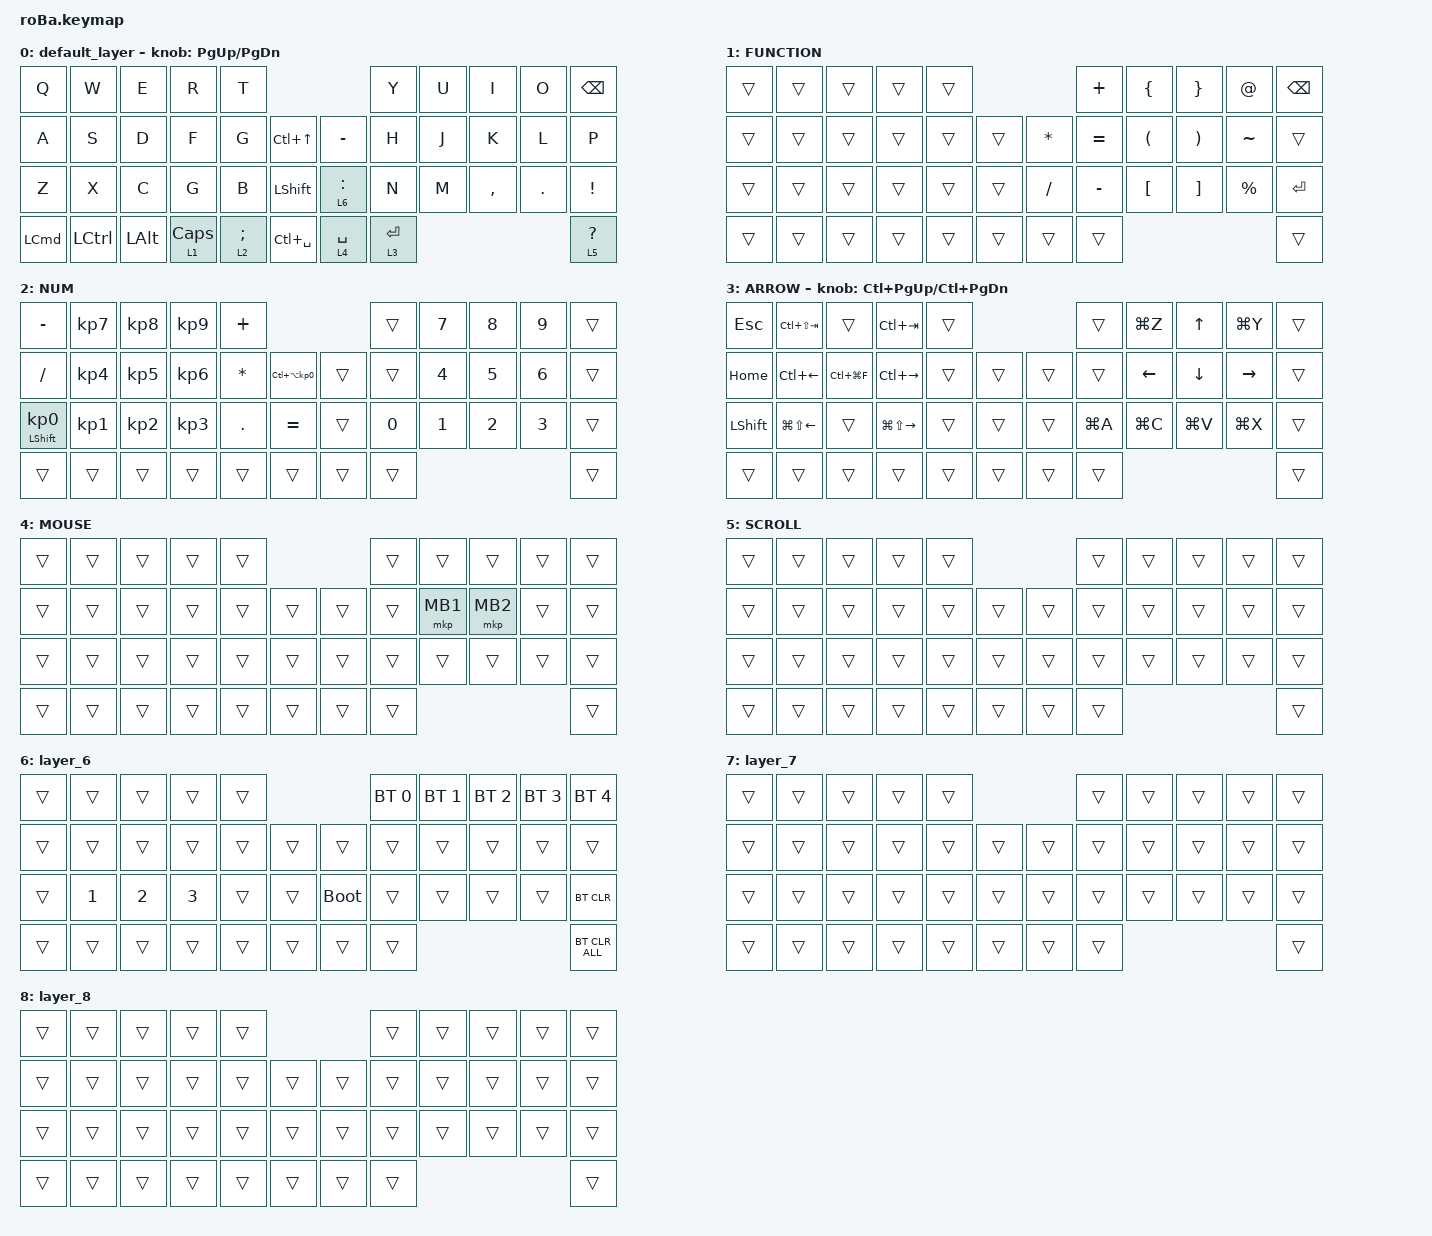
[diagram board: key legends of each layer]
#include <behaviors.dtsi>
#include <dt-bindings/zmk/bt.h>
#include <dt-bindings/zmk/keys.h>
#include <dt-bindings/zmk/pointing.h>

&mt {
    flavor = "balanced";
    quick-tap-ms = <0>;
};

&trackball {
    automouse-layer = <4>;
    scroll-layers = <5>;

    // arrows {
    //     layers = <3>;
    //     bindings =
    //         <&kp RIGHT_ARROW>,
    //         <&kp LEFT_ARROW>,
    //         <&kp UP_ARROW>,
    //         <&kp DOWN_ARROW>;
    //     tick = <10>;
    //     wait-ms = <5>;
    //     tap-ms = <5>;
    // };
};

/ {
    combos {
        compatible = "zmk,combos";

        tab {
            bindings = <&kp TAB>;
            key-positions = <11 12>;
        };

        shift_tab {
            bindings = <&kp LS(TAB)>;
            key-positions = <12 13>;
        };

        muhennkann {
            bindings = <&to_layer_0 INT_MUHENKAN>;
            key-positions = <11 10>;
        };

        double_quotation {
            bindings = <&kp DOUBLE_QUOTES>;
            key-positions = <20 21>;
        };

        eq {
            bindings = <&kp EQUAL>;
            key-positions = <24 25>;
        };
    };

    macros {
        to_layer_0: to_layer_0 {
            compatible = "zmk,behavior-macro-one-param";
            #binding-cells = <1>;
            bindings = <&to 0 &macro_param_1to1 &kp MACRO_PLACEHOLDER>;
            label = "TO_LAYER_0";
        };
    };

    behaviors {
        lt_to_layer_0: lt_to_layer_0 {
            compatible = "zmk,behavior-hold-tap";
            label = "LAYER_TAP_TO_0";
            bindings = <&mo>, <&to_layer_0>;

            #binding-cells = <2>;
            tapping-term-ms = <200>;
        };
    };

    keymap {
        compatible = "zmk,keymap";

        default_layer {
            bindings = <
&kp Q             &kp W             &kp E         &kp R       &kp T                                               &kp Y        &kp U  &kp I      &kp O    &kp BACKSPACE
&kp A             &kp S             &kp D         &kp F       &kp G            &kp LC(UP_ARROW)      &kp MINUS    &kp H        &kp J  &kp K      &kp L    &kp P
&kp Z             &kp X             &kp C         &kp G       &kp B            &kp LEFT_SHIFT        &lt 6 COLON  &kp N        &kp M  &kp COMMA  &kp DOT  &kp EXCLAMATION
&kp LEFT_COMMAND  &kp LEFT_CONTROL  &kp LEFT_ALT  &lt 1 CAPS  &lt 2 SEMICOLON  &kp LC(SPACE)         &lt 4 SPACE  &lt 3 ENTER                             &lt 5 QUESTION
            >;

            sensor-bindings = <&inc_dec_kp PG_UP PAGE_DOWN>;
        };

        FUNCTION {
            bindings = <
&trans  &trans  &trans  &trans  &trans                            &kp PLUS   &kp LEFT_BRACE        &kp RIGHT_BRACE        &kp AT_SIGN  &kp BACKSPACE
&trans  &trans  &trans  &trans  &trans  &trans      &kp ASTERISK  &kp EQUAL  &kp LEFT_PARENTHESIS  &kp RIGHT_PARENTHESIS  &kp TILDE    &trans
&trans  &trans  &trans  &trans  &trans  &trans      &kp SLASH     &kp MINUS  &kp LEFT_BRACKET      &kp RIGHT_BRACKET      &kp PERCENT  &kp ENTER
&trans  &trans  &trans  &trans  &trans  &trans      &trans        &trans                                                               &trans
            >;
        };

        NUM {
            bindings = <
&kp MINUS                   &kp KP_NUMBER_7  &kp KP_NUMBER_8  &kp KP_NUMBER_9  &kp PLUS                                           &trans  &kp N7        &kp N8        &kp N9        &trans
&kp SLASH                   &kp KP_NUMBER_4  &kp KP_NUMBER_5  &kp KP_NUMBER_6  &kp ASTERISK  &kp LC(LA(KP_NUMBER_0))      &trans  &trans  &kp NUMBER_4  &kp N5        &kp NUMBER_6  &trans
&mt LEFT_SHIFT KP_NUMBER_0  &kp KP_NUMBER_1  &kp KP_NUMBER_2  &kp KP_NUMBER_3  &kp PERIOD    &kp EQUAL                    &trans  &kp N0  &kp NUMBER_1  &kp NUMBER_2  &kp NUMBER_3  &trans
&trans                      &trans           &trans           &trans           &trans        &trans                       &trans  &trans                                            &trans
            >;
        };

        ARROW {
            bindings = <
&kp ESCAPE      &kp LC(LS(TAB))         &trans         &kp LC(TAB)              &trans                      &trans     &kp LG(Z)  &kp UP_ARROW    &kp LG(Y)  &trans
&kp HOME        &kp LC(LEFT)            &kp LC(LG(F))  &kp LC(RIGHT)            &trans  &trans      &trans  &trans     &kp LEFT   &kp DOWN_ARROW  &kp RIGHT  &trans
&kp LEFT_SHIFT  &kp LG(LS(LEFT_ARROW))  &trans         &kp LG(LS(RIGHT_ARROW))  &trans  &trans      &trans  &kp LG(A)  &kp LG(C)  &kp LG(V)       &kp LG(X)  &trans
&trans          &trans                  &trans         &trans                   &trans  &trans      &trans  &trans                                           &trans
            >;

            sensor-bindings = <&inc_dec_kp LC(PAGE_UP) LC(PAGE_DOWN)>;
        };

        MOUSE {
            bindings = <
&trans  &trans  &trans  &trans  &trans                      &trans  &trans    &trans    &trans  &trans
&trans  &trans  &trans  &trans  &trans  &trans      &trans  &trans  &mkp MB1  &mkp MB2  &trans  &trans
&trans  &trans  &trans  &trans  &trans  &trans      &trans  &trans  &trans    &trans    &trans  &trans
&trans  &trans  &trans  &trans  &trans  &trans      &trans  &trans                              &trans
            >;
        };

        SCROLL {
            bindings = <
&trans  &trans  &trans  &trans  &trans                      &trans  &trans  &trans  &trans  &trans
&trans  &trans  &trans  &trans  &trans  &trans      &trans  &trans  &trans  &trans  &trans  &trans
&trans  &trans  &trans  &trans  &trans  &trans      &trans  &trans  &trans  &trans  &trans  &trans
&trans  &trans  &trans  &trans  &trans  &trans      &trans  &trans                          &trans
            >;
        };

        layer_6 {
            bindings = <
&trans  &trans        &trans        &trans        &trans                           &bt BT_SEL 0  &bt BT_SEL 1  &bt BT_SEL 2  &bt BT_SEL 3  &bt BT_SEL 4
&trans  &trans        &trans        &trans        &trans  &trans      &trans       &trans        &trans        &trans        &trans        &trans
&trans  &kp NUMBER_1  &kp NUMBER_2  &kp NUMBER_3  &trans  &trans      &bootloader  &trans        &trans        &trans        &trans        &bt BT_CLR
&trans  &trans        &trans        &trans        &trans  &trans      &trans       &trans                                                  &bt BT_CLR_ALL
            >;
        };

        layer_7 {
            bindings = <
&trans  &trans  &trans  &trans  &trans                      &trans  &trans  &trans  &trans  &trans
&trans  &trans  &trans  &trans  &trans  &trans      &trans  &trans  &trans  &trans  &trans  &trans
&trans  &trans  &trans  &trans  &trans  &trans      &trans  &trans  &trans  &trans  &trans  &trans
&trans  &trans  &trans  &trans  &trans  &trans      &trans  &trans                          &trans
            >;
        };

        layer_8 {
            bindings = <
&trans  &trans  &trans  &trans  &trans                      &trans  &trans  &trans  &trans  &trans
&trans  &trans  &trans  &trans  &trans  &trans      &trans  &trans  &trans  &trans  &trans  &trans
&trans  &trans  &trans  &trans  &trans  &trans      &trans  &trans  &trans  &trans  &trans  &trans
&trans  &trans  &trans  &trans  &trans  &trans      &trans  &trans                          &trans
            >;
        };
    };
};
